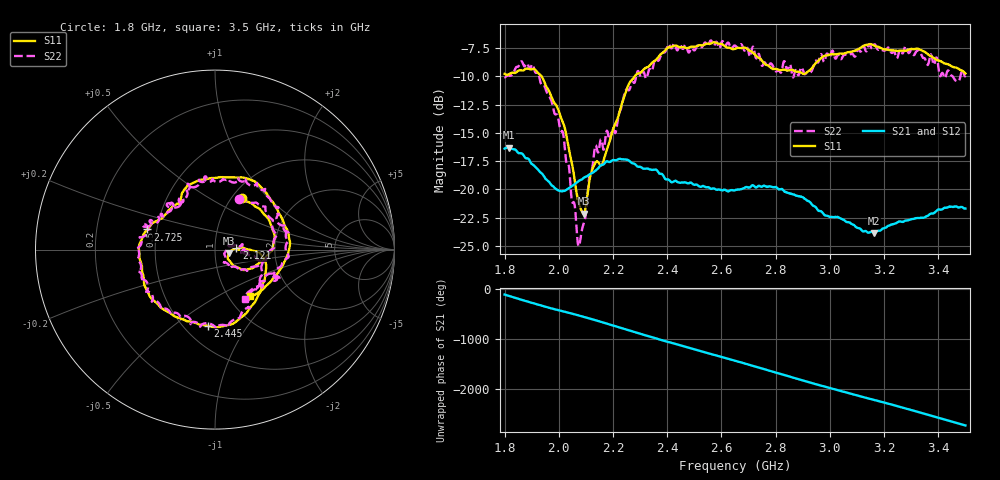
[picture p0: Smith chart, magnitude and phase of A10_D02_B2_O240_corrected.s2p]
! Created with skrf 1.9.0 (http://scikit-rf.org).
# Hz S RI R 50.0
!freq ReS11 ImS11 ReS21 ImS21 ReS12 ImS12 ReS22 ImS22
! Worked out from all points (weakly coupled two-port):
!   1601 points, 1.8 GHz to 3.5 GHz, reference 50 ohm
!   highest |S21| = -16.30 dB at 1.817 GHz (marker M1); lowest = -23.9 dB at 3.163 GHz (marker M2)
!   lowest |S11| = -22.2 dB at 2.091 GHz (marker M3), VSWR 1.17, Z = 58.1 - j2.34 ohm
!   |S11| at or under -10 dB: 1.937 GHz to 2.279 GHz (342.7 MHz wide, 16.3 % of centre)
!   |S22| runs from -25.0 to -6.8 dB; largest |S21 - S12| = 0.0027
!   S11 on the Smith chart (normalised r, x): 1.8 GHz: 1.12, +0.72; 2.121 GHz: 1.27, +0.02; 2.445 GHz: 0.65, -0.67; 2.725 GHz: 0.44, +0.12; 3.5 GHz: 1.26, -0.73
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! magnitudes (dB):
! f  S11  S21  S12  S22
! 1.8 GHz  -9.8  -16.4  -16.4  -10.1
! 1.817 GHz  -9.8  -16.3  -16.3  -9.9
! 1.902 GHz  -9.4  -17.8  -17.7  -8.9
! 1.967 GHz  -11.5  -19.4  -19.5  -11.8
! 2.021 GHz  -14.5  -20.1  -20.1  -16.1
! 2.071 GHz  -20.9  -19.3  -19.3  -24.9
! 2.084 GHz  -21.9  -19.1  -19.1  -23.8
! 2.091 GHz  -22.2  -19.0  -19.0  -23.0
! 2.121 GHz  -18.4  -18.6  -18.6  -18.3
! 2.135 GHz  -17.6  -18.4  -18.3  -16.1
! 2.163 GHz  -17.6  -17.8  -17.7  -16.4
! 2.209 GHz  -14.2  -17.4  -17.4  -15.0
! 2.261 GHz  -10.5  -17.5  -17.5  -11.2
! 2.367 GHz  -8.3  -18.5  -18.4  -8.6
! 2.445 GHz  -7.4  -19.4  -19.4  -7.2
! 2.65 GHz  -7.6  -20.1  -20.0  -7.3
! 2.725 GHz  -8.1  -19.8  -19.8  -8.2
! 2.804 GHz  -9.4  -19.8  -19.9  -9.5
! 2.934 GHz  -9.3  -21.3  -21.3  -9.5
! 3.163 GHz  -7.3  -23.9  -23.8  -7.2
! 3.217 GHz  -7.6  -23.2  -23.2  -7.5
! 3.5 GHz  -9.7  -21.7  -21.7  -9.9
